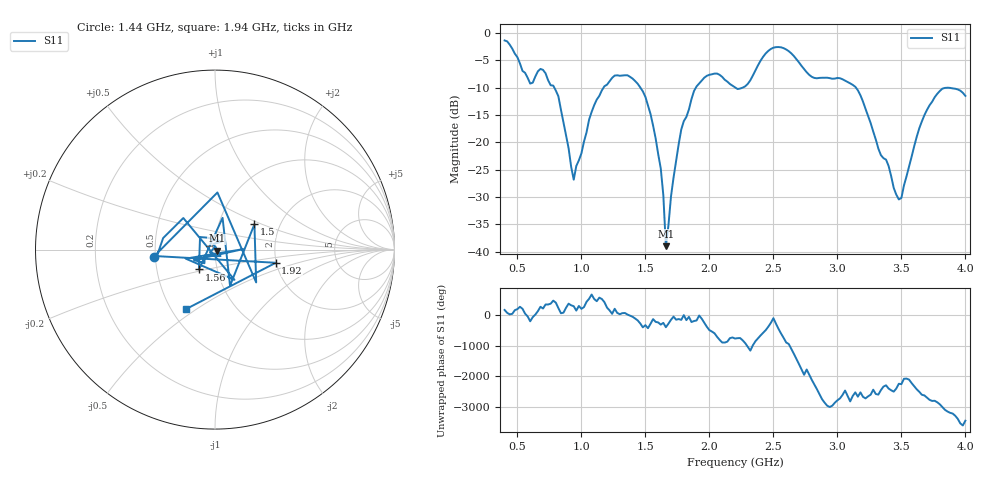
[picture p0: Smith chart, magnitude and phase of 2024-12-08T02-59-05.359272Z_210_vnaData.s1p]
!Created with skrf (http://scikit-rf.org).
# Hz S RI R 50.0
!freq ReS11 ImS11
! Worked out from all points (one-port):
!   181 points, 400 MHz to 4 GHz, reference 50 ohm
!   lowest |S11| = -39.0 dB at 1.66 GHz (marker M1), VSWR 1.02, Z = 50.9 - j0.647 ohm
!   |S11| at or under -10 dB: 788.8 MHz to 1.172 GHz (383.5 MHz wide, 39.1 % of centre); 1.462 GHz to 1.894 GHz (432 MHz wide, 25.7 % of centre); 3.146 GHz to 3.853 GHz (707 MHz wide, 20.2 % of centre) (the widest 3 of 5)
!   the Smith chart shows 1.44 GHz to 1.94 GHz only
!   S11 on the Smith chart (normalised r, x): 1.44 GHz: 0.49, -0.04; 1.5 GHz: 1.48, +0.45; 1.56 GHz: 0.82, -0.18; 1.92 GHz: 1.99, -0.33; 1.94 GHz: 0.59, -0.45
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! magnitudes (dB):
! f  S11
! 400 MHz  -1.3
! 600 MHz  -9.2
! 720 MHz  -7.4
! 820 MHz  -11.5
! 860 MHz  -16.3
! 940 MHz  -26.8
! 1.1 GHz  -13.2
! 1.3 GHz  -7.8
! 1.44 GHz  -9.3
! 1.5 GHz  -11.7
! 1.56 GHz  -16.9
! 1.62 GHz  -24.8
! 1.64 GHz  -29.7
! 1.66 GHz  -39.0
! 1.76 GHz  -20.3
! 1.92 GHz  -9.2
! 1.94 GHz  -8.7
! 2.2 GHz  -9.9
! 2.48 GHz  -2.9
! 2.66 GHz  -4.2
! 2.8 GHz  -8.0
! 3.1 GHz  -9.2
! 3.18 GHz  -11.4
! 3.48 GHz  -30.5
! 3.56 GHz  -24.4
! 3.66 GHz  -16.1
! 3.78 GHz  -11.1
! 4 GHz  -11.5
